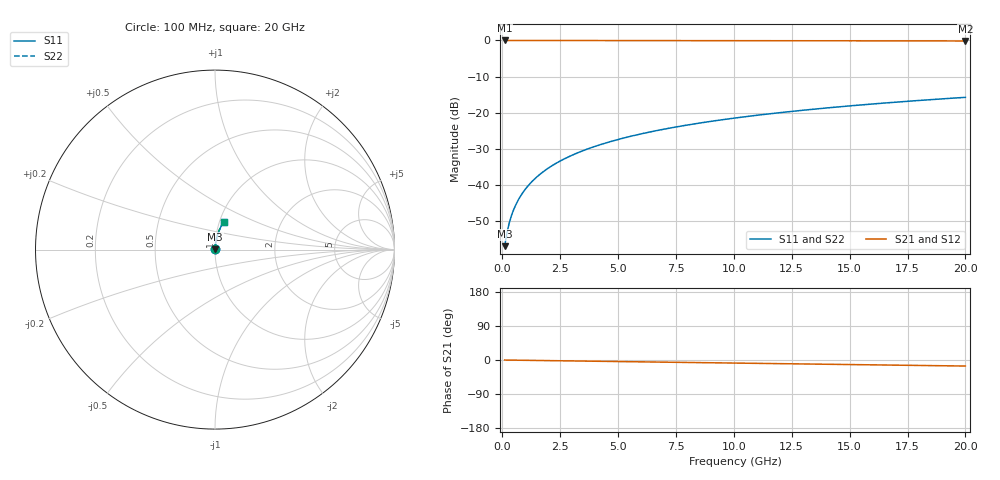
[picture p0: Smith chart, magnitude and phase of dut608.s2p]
! Touchstone file exported from HFSS 2026.1.0
!  File:  C:/ffzhzh/LocalFiles/Ansys_Project_Files/temp_train_BSMRDL_608_1783016186_51716.aedt
!  Generated:  02:17:51 AM Jul  3, 2026
!  Design:  BSMRDL
!  Project:  temp_train_BSMRDL_608_1783016186_51716
! Variables:
!  h_bsmrdl = 2.97um
!  h_ox = 20um
!  h_rdl = 5um
!  h_sub = 80um
!  h_tmrdl = 5um
!  h_tsv = 80um
!  h_via = 3um
!  l_bsmrdl = 183.31um
!  l_sub = 583.31um
!  l_tmrdl = 200um
!  m_sub = 200um
!  pitch = 57.02um
!  r_tsv = 6um
!  s_tmrdl = 10um
!  w_bsmrdl = 28.48um
!  w_sub = 500um
!  w_tmrdl = 12um
!  x_tsv_center1 = 206um
!  x_tsv_center2 = 417.79um
!  x_tsv_center3 = 629.79um
!  x_tsv_center4 = 841.58um
!  x_tsv_center5 = 1053.58um
!  x_tsv_center6 = 1265.37um
# GHz S MA R 50.000000
! Terminal data exported
! Port[1] = BSM_RDL1_1_T1
! Port[2] = BSM_RDL1_1_T2
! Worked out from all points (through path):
!   200 points, 100 MHz to 20 GHz, reference 50 ohm
!   highest |S21| = -0.01 dB at 100 MHz (marker M1); lowest = -0.2 dB at 20 GHz (marker M2)
!   group delay of S21, straight-line fit = 2.22 ps
!   lowest |S11| = -56.9 dB at 100 MHz (marker M3), VSWR 1.00, Z = 50.1 + j0.0941 ohm
!   |S11| at or under -10 dB: start of sweep to end of sweep
!   |S22| runs from -56.9 to -15.7 dB; largest |S21 - S12| = 2.8e-15
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0.1  0.001429 41.1  0.9989 -0.1  0.9989 -0.1  0.001429 41.1
! Gamma 0 0 0 0
! Port Impedance 50 0 50 0
0.2  0.002171 58.6  0.9989 -0.2  0.9989 -0.2  0.002171 58.6
0.3  0.002989 66.5  0.9988 -0.3  0.9988 -0.3  0.002989 66.5
0.4  0.003817 70.8  0.9988 -0.3  0.9988 -0.3  0.003817 70.8
0.5  0.004645 73.6  0.9987 -0.4  0.9987 -0.4  0.004645 73.6
0.6  0.005473 75.7  0.9987 -0.5  0.9987 -0.5  0.005473 75.7
0.8  0.007137 78.4  0.9986 -0.7  0.9986 -0.7  0.007137 78.4
1.1  0.009649 80.8  0.9986 -0.9  0.9986 -0.9  0.009649 80.7
1.3  0.01133 81.7  0.9985 -1.1  0.9985 -1.1  0.01133 81.7
1.6  0.01387 82.7  0.9985 -1.3  0.9985 -1.3  0.01387 82.7
2.1  0.01811 83.5  0.9983 -1.7  0.9983 -1.7  0.01811 83.5
2.7  0.02321 83.9  0.9982 -2.2  0.9982 -2.2  0.02321 83.9
3.5  0.02999 84.0  0.9979 -2.9  0.9979 -2.9  0.02999 84.0
4.2  0.03592 83.8  0.9976 -3.4  0.9976 -3.4  0.03592 83.8
5  0.04266 83.4  0.9972 -4.1  0.9972 -4.1  0.04266 83.4
5.9  0.05022 82.9  0.9967 -4.8  0.9967 -4.8  0.05022 82.9
6.8  0.05774 82.3  0.9961 -5.5  0.9961 -5.5  0.05774 82.3
8.3  0.07018 81.3  0.9951 -6.7  0.9951 -6.7  0.07018 81.3
10.1  0.08495 80.0  0.9936 -8.2  0.9936 -8.2  0.08495 79.9
13.4  0.1116 77.5  0.9904 -10.8  0.9904 -10.8  0.1116 77.5
16.7  0.1377 75.0  0.9867 -13.4  0.9867 -13.4  0.1377 75.0
20  0.1633 72.6  0.9824 -16.0  0.9824 -16.0  0.1633 72.6
